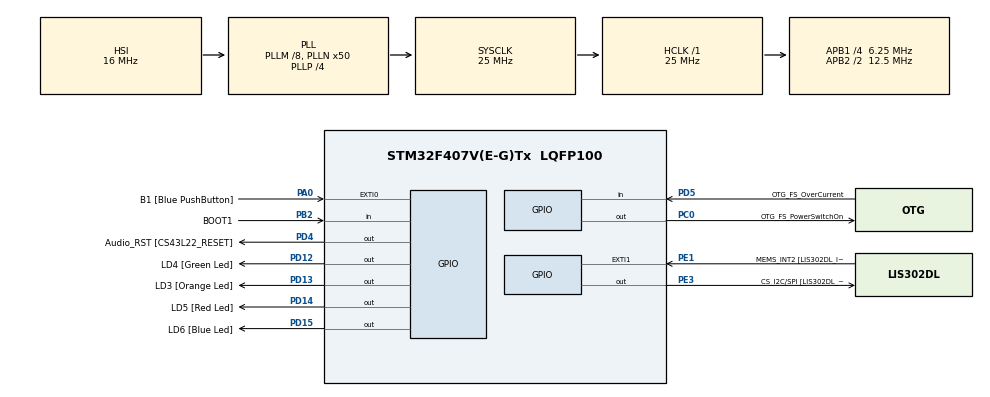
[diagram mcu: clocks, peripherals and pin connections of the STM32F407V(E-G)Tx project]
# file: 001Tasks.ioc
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Mcu.Family=STM32F4
Mcu.Name=STM32F407V(E-G)Tx
Mcu.Package=LQFP100
NVIC.PriorityGroup=NVIC_PRIORITYGROUP_4
NVIC.TIM6_DAC_IRQn=true\:15\:0\:false\:false\:true\:false\:true\:true
NVIC.TimeBase=TIM6_DAC_IRQn
NVIC.TimeBaseIP=TIM6
PA0-WKUP.GPIO_Label=B1 [Blue PushButton]
PA0-WKUP.Signal=GPXTI0
PA10.GPIO_Label=OTG_FS_ID
PA10.GPIO_Mode=GPIO_MODE_AF_PP
PA10.GPIO_PuPd=GPIO_NOPULL
PA10.GPIO_Speed=GPIO_SPEED_FREQ_LOW
PA10.Signal=USB_OTG_FS_ID
PA11.GPIO_Label=OTG_FS_DM
PA11.GPIO_Mode=GPIO_MODE_AF_PP
PA11.GPIO_PuPd=GPIO_NOPULL
PA11.GPIO_Speed=GPIO_SPEED_FREQ_LOW
PA11.Signal=USB_OTG_FS_DM
PA12.GPIO_Label=OTG_FS_DP
PA12.GPIO_Mode=GPIO_MODE_AF_PP
PA12.GPIO_PuPd=GPIO_NOPULL
PA12.GPIO_Speed=GPIO_SPEED_FREQ_LOW
PA12.Signal=USB_OTG_FS_DP
PA13.GPIO_Label=SWDIO
PA13.Mode=Serial_Wire
PA13.Signal=SYS_JTMS-SWDIO
PA14.GPIO_Label=SWCLK
PA14.Mode=Serial_Wire
PA14.Signal=SYS_JTCK-SWCLK
PA4.GPIO_Label=I2S3_WS [CS43L22_LRCK]
PA4.GPIO_Mode=GPIO_MODE_AF_PP
PA4.GPIO_PuPd=GPIO_NOPULL
PA4.GPIO_Speed=GPIO_SPEED_FREQ_LOW
PA4.Signal=I2S3_WS
PA5.GPIO_Label=SPI1_SCK [LIS302DL_SCL/SPC]
PA5.GPIO_Mode=GPIO_MODE_AF_PP
PA5.GPIO_PuPd=GPIO_NOPULL
PA5.GPIO_Speed=GPIO_SPEED_FREQ_LOW
PA5.Signal=SPI1_SCK
PA6.GPIO_Label=SPI1_MISO [LIS302DL_SDO]
PA6.GPIO_Mode=GPIO_MODE_AF_PP
PA6.GPIO_PuPd=GPIO_NOPULL
PA6.GPIO_Speed=GPIO_SPEED_FREQ_LOW
PA6.Signal=SPI1_MISO
PA7.GPIO_Label=SPI1_MOSI [LIS302DL_SDA/SDI/SDO]
PA7.GPIO_Mode=GPIO_MODE_AF_PP
PA7.GPIO_PuPd=GPIO_NOPULL
PA7.GPIO_Speed=GPIO_SPEED_FREQ_LOW
PA7.Signal=SPI1_MOSI
PA9.GPIO_Label=VBUS_FS
PA9.GPIO_Mode=GPIO_MODE_INPUT
PA9.GPIO_PuPd=GPIO_NOPULL
PA9.Signal=USB_OTG_FS_VBUS
PB10.GPIO_Label=CLK_IN [MP45DT02_CLK]
PB10.GPIO_Mode=GPIO_MODE_AF_PP
PB10.GPIO_PuPd=GPIO_NOPULL
PB10.GPIO_Speed=GPIO_SPEED_FREQ_LOW
PB10.Signal=I2S2_CK
PB2.GPIO_Label=BOOT1
PB2.GPIO_Mode=GPIO_MODE_INPUT
PB2.GPIO_PuPd=GPIO_NOPULL
PB2.Signal=GPIO_Input
PB3.GPIO_Label=SWO
PB3.Signal=SYS_JTDO-SWO
PB6.GPIO_Label=Audio_SCL [CS43L22_SCL]
PB6.GPIO_Mode=GPIO_MODE_AF_OD
PB6.GPIO_PuPd=GPIO_NOPULL
PB6.GPIO_Speed=GPIO_SPEED_FREQ_LOW
PB6.Signal=I2C1_SCL
PB9.GPIO_Label=Audio_SDA [CS43L22_SDA]
PB9.GPIO_Mode=GPIO_MODE_AF_OD
PB9.GPIO_PuPd=GPIO_NOPULL
PB9.GPIO_Speed=GPIO_SPEED_FREQ_LOW
PB9.Signal=I2C1_SDA
PC0.GPIO_Label=OTG_FS_PowerSwitchOn
PC0.GPIO_PuPd=GPIO_NOPULL
PC0.GPIO_Speed=GPIO_SPEED_FREQ_LOW
PC0.PinState=GPIO_PIN_SET
PC0.Signal=GPIO_Output
PC10.GPIO_Label=I2S3_SCK [CS43L22_SCLK]
PC10.GPIO_Mode=GPIO_MODE_AF_PP
PC10.GPIO_PuPd=GPIO_NOPULL
PC10.GPIO_Speed=GPIO_SPEED_FREQ_LOW
PC10.Signal=I2S3_CK
PC12.GPIO_Label=I2S3_SD [CS43L22_SDIN]
PC12.GPIO_Mode=GPIO_MODE_AF_PP
PC12.GPIO_PuPd=GPIO_NOPULL
PC12.GPIO_Speed=GPIO_SPEED_FREQ_LOW
PC12.Signal=I2S3_SD
PC14-OSC32_IN.GPIO_Label=PC14-OSC32_IN
PC14-OSC32_IN.Signal=RCC_OSC32_IN
PC15-OSC32_OUT.GPIO_Label=PC15-OSC32_OUT
PC15-OSC32_OUT.Signal=RCC_OSC32_OUT
PC3.GPIO_Label=PDM_OUT [MP45DT02_DOUT]
PC3.GPIO_Mode=GPIO_MODE_AF_PP
PC3.GPIO_PuPd=GPIO_NOPULL
PC3.GPIO_Speed=GPIO_SPEED_FREQ_LOW
PC3.Signal=I2S2_SD
PC7.GPIO_Label=I2S3_MCK [CS43L22_MCLK]
PC7.GPIO_Mode=GPIO_MODE_AF_PP
PC7.GPIO_PuPd=GPIO_NOPULL
PC7.GPIO_Speed=GPIO_SPEED_FREQ_LOW
PC7.Signal=I2S3_MCK
PD12.GPIO_Label=LD4 [Green Led]
PD12.GPIO_PuPd=GPIO_NOPULL
PD12.GPIO_Speed=GPIO_SPEED_FREQ_LOW
PD12.Signal=GPIO_Output
PD13.GPIO_Label=LD3 [Orange Led]
PD13.GPIO_PuPd=GPIO_NOPULL
PD13.GPIO_Speed=GPIO_SPEED_FREQ_LOW
PD13.Signal=GPIO_Output
PD14.GPIO_Label=LD5 [Red Led]
PD14.GPIO_PuPd=GPIO_NOPULL
PD14.GPIO_Speed=GPIO_SPEED_FREQ_LOW
PD14.Signal=GPIO_Output
PD15.GPIO_Label=LD6 [Blue Led]
PD15.GPIO_PuPd=GPIO_NOPULL
PD15.GPIO_Speed=GPIO_SPEED_FREQ_LOW
PD15.Signal=GPIO_Output
PD4.GPIO_Label=Audio_RST [CS43L22_RESET]
PD4.GPIO_PuPd=GPIO_NOPULL
PD4.GPIO_Speed=GPIO_SPEED_FREQ_LOW
PD4.Signal=GPIO_Output
PD5.GPIO_Label=OTG_FS_OverCurrent
PD5.GPIO_Mode=GPIO_MODE_INPUT
PD5.GPIO_PuPd=GPIO_NOPULL
PD5.Signal=GPIO_Input
PE1.GPIO_Label=MEMS_INT2 [LIS302DL_INT2]
PE1.GPIO_ModeDefaultEXTI=GPIO_MODE_EVT_RISING
PE1.GPIO_PuPd=GPIO_NOPULL
PE1.Signal=GPXTI1
PE3.GPIO_Label=CS_I2C/SPI [LIS302DL_CS_I2C/SPI]
PE3.GPIO_PuPd=GPIO_NOPULL
PE3.GPIO_Speed=GPIO_SPEED_FREQ_LOW
PE3.Signal=GPIO_Output
PH0-OSC_IN.GPIO_Label=PH0-OSC_IN
PH0-OSC_IN.Signal=RCC_OSC_IN
PH1-OSC_OUT.GPIO_Label=PH1-OSC_OUT
PH1-OSC_OUT.Signal=RCC_OSC_OUT
ProjectManager.HeapSize=0x200
ProjectManager.StackSize=0x400
ProjectManager.TargetToolchain=STM32CubeIDE
RCC.48MHZClocksFreq_Value=14285714.285714285
RCC.AHBFreq_Value=25000000
RCC.APB1CLKDivider=RCC_HCLK_DIV4
RCC.APB1Freq_Value=6250000
RCC.APB1TimFreq_Value=12500000
RCC.APB2CLKDivider=RCC_HCLK_DIV2
RCC.APB2Freq_Value=12500000
RCC.APB2TimFreq_Value=25000000
RCC.CortexFreq_Value=25000000
RCC.HCLKFreq_Value=25000000
RCC.HSE_VALUE=8000000
RCC.HSI_VALUE=16000000
RCC.LSE_VALUE=32768
RCC.PLLM=8
RCC.PLLN=50
RCC.PLLP=RCC_PLLP_DIV4
RCC.PLLQ=7
RCC.SYSCLKFreq_VALUE=25000000
RCC.SYSCLKSource=RCC_SYSCLKSOURCE_PLLCLK
RCC.VCOOutputFreq_Value=100000000
VP_SYS_VS_tim6.Mode=TIM6
board=STM32F407G-DISC1

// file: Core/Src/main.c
/* USER CODE BEGIN Header */
/**
  ******************************************************************************
  * @file           : main.c
  * @brief          : Main program body
  ******************************************************************************
  * @attention
  *
  * Copyright (c) 2025 STMicroelectronics.
  * All rights reserved.
  *
  * This software is licensed under terms that can be found in the LICENSE file
  * in the root directory of this software component.
  * If no LICENSE file comes with this software, it is provided AS-IS.
  *
  ******************************************************************************
  */
/* USER CODE END Header */
#include "main.h"

/* USER CODE BEGIN Includes */
#include <stdio.h>
#include "FreeRTOS.h"
#include "task.h"
/* USER CODE END Includes */

void SystemClock_Config(void);
static void MX_GPIO_Init(void);
/* USER CODE BEGIN PFP */
static void task1_handler(void *parameters);
static void task2_handler(void *parameters);
/* USER CODE END PFP */

int main(void)
{

  /* USER CODE BEGIN 1 */
  TaskHandle_t task1_handle;
  TaskHandle_t task2_handle;

  BaseType_t status;
  /* USER CODE END 1 */

  /* MCU Configuration--------------------------------------------------------*/

  /* Reset of all peripherals, Initializes the Flash interface and the Systick. */
  HAL_Init();

  /* Configure the system clock */
  SystemClock_Config();

  /* Initialize all configured peripherals */
  MX_GPIO_Init();
  /* USER CODE BEGIN 2 */
  status = xTaskCreate(task1_handler, "Task-1", 200, "Hello world from Task-1", 2, &task1_handle);
  configASSERT(status == pdPASS);

  status = xTaskCreate(task2_handler, "Task-2", 200, "unicode Task-2 unicode", 2, &task2_handle);
  configASSERT(status == pdPASS);

  // start the FreeRTOS scheduler
  vTaskStartScheduler();

  // if the control comes here, then the launch  of the scheduler has failed due to
  // insufficient memory in heap.

  /* USER CODE END 2 */

  /* Infinite loop */
  while (1)
  {

  }
}

void SystemClock_Config(void)
{
  RCC_OscInitTypeDef RCC_OscInitStruct = {0};
  RCC_ClkInitTypeDef RCC_ClkInitStruct = {0};

  /** Configure the main internal regulator output voltage
  */
  __HAL_RCC_PWR_CLK_ENABLE();
  __HAL_PWR_VOLTAGESCALING_CONFIG(PWR_REGULATOR_VOLTAGE_SCALE1);

  /** Initializes the RCC Oscillators according to the specified parameters
  * in the RCC_OscInitTypeDef structure.
  */
  RCC_OscInitStruct.OscillatorType = RCC_OSCILLATORTYPE_HSI;
  RCC_OscInitStruct.HSIState = RCC_HSI_ON;
  RCC_OscInitStruct.HSICalibrationValue = RCC_HSICALIBRATION_DEFAULT;
  RCC_OscInitStruct.PLL.PLLState = RCC_PLL_ON;
  RCC_OscInitStruct.PLL.PLLSource = RCC_PLLSOURCE_HSI;
  RCC_OscInitStruct.PLL.PLLM = 8;
  RCC_OscInitStruct.PLL.PLLN = 50;
  RCC_OscInitStruct.PLL.PLLP = RCC_PLLP_DIV4;
  RCC_OscInitStruct.PLL.PLLQ = 7;
  if (HAL_RCC_OscConfig(&RCC_OscInitStruct) != HAL_OK)
  {
    Error_Handler();
  }

  /** Initializes the CPU, AHB and APB buses clocks
  */
  RCC_ClkInitStruct.ClockType = RCC_CLOCKTYPE_HCLK|RCC_CLOCKTYPE_SYSCLK
                              |RCC_CLOCKTYPE_PCLK1|RCC_CLOCKTYPE_PCLK2;
  RCC_ClkInitStruct.SYSCLKSource = RCC_SYSCLKSOURCE_PLLCLK;
  RCC_ClkInitStruct.AHBCLKDivider = RCC_SYSCLK_DIV1;
  RCC_ClkInitStruct.APB1CLKDivider = RCC_HCLK_DIV4;
  RCC_ClkInitStruct.APB2CLKDivider = RCC_HCLK_DIV2;

  if (HAL_RCC_ClockConfig(&RCC_ClkInitStruct, FLASH_LATENCY_0) != HAL_OK)
  {
    Error_Handler();
  }
}

static void MX_GPIO_Init(void)
{
  GPIO_InitTypeDef GPIO_InitStruct = {0};

  /* GPIO Ports Clock Enable */
  __HAL_RCC_GPIOE_CLK_ENABLE();
  __HAL_RCC_GPIOC_CLK_ENABLE();
  __HAL_RCC_GPIOH_CLK_ENABLE();
  __HAL_RCC_GPIOA_CLK_ENABLE();
  __HAL_RCC_GPIOB_CLK_ENABLE();
  __HAL_RCC_GPIOD_CLK_ENABLE();

  /*Configure GPIO pin Output Level */
  HAL_GPIO_WritePin(CS_I2C_SPI_GPIO_Port, CS_I2C_SPI_Pin, GPIO_PIN_RESET);

  /*Configure GPIO pin Output Level */
  HAL_GPIO_WritePin(OTG_FS_PowerSwitchOn_GPIO_Port, OTG_FS_PowerSwitchOn_Pin, GPIO_PIN_SET);

  /*Configure GPIO pin Output Level */
  HAL_GPIO_WritePin(GPIOD, LD4_Pin|LD3_Pin|LD5_Pin|LD6_Pin
                          |Audio_RST_Pin, GPIO_PIN_RESET);

  /*Configure GPIO pin : CS_I2C_SPI_Pin */
  GPIO_InitStruct.Pin = CS_I2C_SPI_Pin;
  GPIO_InitStruct.Mode = GPIO_MODE_OUTPUT_PP;
  GPIO_InitStruct.Pull = GPIO_NOPULL;
  GPIO_InitStruct.Speed = GPIO_SPEED_FREQ_LOW;
  HAL_GPIO_Init(CS_I2C_SPI_GPIO_Port, &GPIO_InitStruct);

  /*Configure GPIO pin : OTG_FS_PowerSwitchOn_Pin */
  GPIO_InitStruct.Pin = OTG_FS_PowerSwitchOn_Pin;
  GPIO_InitStruct.Mode = GPIO_MODE_OUTPUT_PP;
  GPIO_InitStruct.Pull = GPIO_NOPULL;
  GPIO_InitStruct.Speed = GPIO_SPEED_FREQ_LOW;
  HAL_GPIO_Init(OTG_FS_PowerSwitchOn_GPIO_Port, &GPIO_InitStruct);

  /*Configure GPIO pin : PDM_OUT_Pin */
  GPIO_InitStruct.Pin = PDM_OUT_Pin;
  GPIO_InitStruct.Mode = GPIO_MODE_AF_PP;
  GPIO_InitStruct.Pull = GPIO_NOPULL;
  GPIO_InitStruct.Speed = GPIO_SPEED_FREQ_LOW;
  GPIO_InitStruct.Alternate = GPIO_AF5_SPI2;
  HAL_GPIO_Init(PDM_OUT_GPIO_Port, &GPIO_InitStruct);

  /*Configure GPIO pin : B1_Pin */
  GPIO_InitStruct.Pin = B1_Pin;
  GPIO_InitStruct.Mode = GPIO_MODE_IT_RISING;
  GPIO_InitStruct.Pull = GPIO_NOPULL;
  HAL_GPIO_Init(B1_GPIO_Port, &GPIO_InitStruct);

  /*Configure GPIO pin : I2S3_WS_Pin */
  GPIO_InitStruct.Pin = I2S3_WS_Pin;
  GPIO_InitStruct.Mode = GPIO_MODE_AF_PP;
  GPIO_InitStruct.Pull = GPIO_NOPULL;
  GPIO_InitStruct.Speed = GPIO_SPEED_FREQ_LOW;
  GPIO_InitStruct.Alternate = GPIO_AF6_SPI3;
  HAL_GPIO_Init(I2S3_WS_GPIO_Port, &GPIO_InitStruct);

  /*Configure GPIO pins : SPI1_SCK_Pin SPI1_MISO_Pin SPI1_MOSI_Pin */
  GPIO_InitStruct.Pin = SPI1_SCK_Pin|SPI1_MISO_Pin|SPI1_MOSI_Pin;
  GPIO_InitStruct.Mode = GPIO_MODE_AF_PP;
  GPIO_InitStruct.Pull = GPIO_NOPULL;
  GPIO_InitStruct.Speed = GPIO_SPEED_FREQ_LOW;
  GPIO_InitStruct.Alternate = GPIO_AF5_SPI1;
  HAL_GPIO_Init(GPIOA, &GPIO_InitStruct);

  /*Configure GPIO pin : BOOT1_Pin */
  GPIO_InitStruct.Pin = BOOT1_Pin;
  GPIO_InitStruct.Mode = GPIO_MODE_INPUT;
  GPIO_InitStruct.Pull = GPIO_NOPULL;
  HAL_GPIO_Init(BOOT1_GPIO_Port, &GPIO_InitStruct);

  /*Configure GPIO pin : CLK_IN_Pin */
  GPIO_InitStruct.Pin = CLK_IN_Pin;
  GPIO_InitStruct.Mode = GPIO_MODE_AF_PP;
  GPIO_InitStruct.Pull = GPIO_NOPULL;
  GPIO_InitStruct.Speed = GPIO_SPEED_FREQ_LOW;
  GPIO_InitStruct.Alternate = GPIO_AF5_SPI2;
  HAL_GPIO_Init(CLK_IN_GPIO_Port, &GPIO_InitStruct);

  /*Configure GPIO pins : LD4_Pin LD3_Pin LD5_Pin LD6_Pin
                           Audio_RST_Pin */
  GPIO_InitStruct.Pin = LD4_Pin|LD3_Pin|LD5_Pin|LD6_Pin
                          |Audio_RST_Pin;
  GPIO_InitStruct.Mode = GPIO_MODE_OUTPUT_PP;
  GPIO_InitStruct.Pull = GPIO_NOPULL;
  GPIO_InitStruct.Speed = GPIO_SPEED_FREQ_LOW;
  HAL_GPIO_Init(GPIOD, &GPIO_InitStruct);

  /*Configure GPIO pins : I2S3_MCK_Pin I2S3_SCK_Pin I2S3_SD_Pin */
  GPIO_InitStruct.Pin = I2S3_MCK_Pin|I2S3_SCK_Pin|I2S3_SD_Pin;
  GPIO_InitStruct.Mode = GPIO_MODE_AF_PP;
  GPIO_InitStruct.Pull = GPIO_NOPULL;
  GPIO_InitStruct.Speed = GPIO_SPEED_FREQ_LOW;
  GPIO_InitStruct.Alternate = GPIO_AF6_SPI3;
  HAL_GPIO_Init(GPIOC, &GPIO_InitStruct);

  /*Configure GPIO pin : VBUS_FS_Pin */
  GPIO_InitStruct.Pin = VBUS_FS_Pin;
  GPIO_InitStruct.Mode = GPIO_MODE_INPUT;
  GPIO_InitStruct.Pull = GPIO_NOPULL;
  HAL_GPIO_Init(VBUS_FS_GPIO_Port, &GPIO_InitStruct);

  /*Configure GPIO pins : OTG_FS_ID_Pin OTG_FS_DM_Pin OTG_FS_DP_Pin */
  GPIO_InitStruct.Pin = OTG_FS_ID_Pin|OTG_FS_DM_Pin|OTG_FS_DP_Pin;
  GPIO_InitStruct.Mode = GPIO_MODE_AF_PP;
  GPIO_InitStruct.Pull = GPIO_NOPULL;
  GPIO_InitStruct.Speed = GPIO_SPEED_FREQ_LOW;
  GPIO_InitStruct.Alternate = GPIO_AF10_OTG_FS;
  HAL_GPIO_Init(GPIOA, &GPIO_InitStruct);

  /*Configure GPIO pin : OTG_FS_OverCurrent_Pin */
  GPIO_InitStruct.Pin = OTG_FS_OverCurrent_Pin;
  GPIO_InitStruct.Mode = GPIO_MODE_INPUT;
  GPIO_InitStruct.Pull = GPIO_NOPULL;
  HAL_GPIO_Init(OTG_FS_OverCurrent_GPIO_Port, &GPIO_InitStruct);

  /*Configure GPIO pins : Audio_SCL_Pin Audio_SDA_Pin */
  GPIO_InitStruct.Pin = Audio_SCL_Pin|Audio_SDA_Pin;
  GPIO_InitStruct.Mode = GPIO_MODE_AF_OD;
  GPIO_InitStruct.Pull = GPIO_NOPULL;
  GPIO_InitStruct.Speed = GPIO_SPEED_FREQ_LOW;
  GPIO_InitStruct.Alternate = GPIO_AF4_I2C1;
  HAL_GPIO_Init(GPIOB, &GPIO_InitStruct);

  /*Configure GPIO pin : MEMS_INT2_Pin */
  GPIO_InitStruct.Pin = MEMS_INT2_Pin;
  GPIO_InitStruct.Mode = GPIO_MODE_EVT_RISING;
  GPIO_InitStruct.Pull = GPIO_NOPULL;
  HAL_GPIO_Init(MEMS_INT2_GPIO_Port, &GPIO_InitStruct);

}

/* USER CODE BEGIN 4 */
static void task1_handler(void *parameters)
{
	while(1)
	{
		printf("%s\r\n", (char *)parameters);
		taskYIELD();
	}
}

static void task2_handler(void *parameters)
{
	while(1)
	{
		printf("%s\r\n", (char *)parameters);
		taskYIELD();
	}
}
/* USER CODE END 4 */

void HAL_TIM_PeriodElapsedCallback(TIM_HandleTypeDef *htim)
{
  if (htim->Instance == TIM6)
  {
    HAL_IncTick();
  }
}

void Error_Handler(void)
{
  __disable_irq();
  while (1)
  {
  }
}
